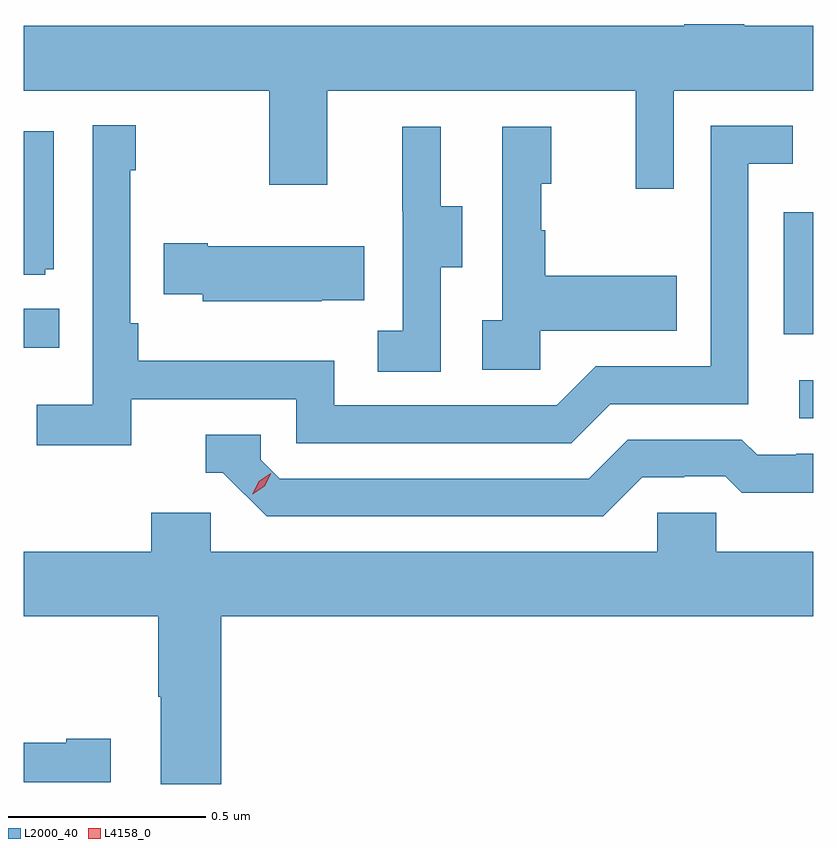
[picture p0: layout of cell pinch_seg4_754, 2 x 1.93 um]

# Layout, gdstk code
import gdstk
lib = gdstk.Library(unit=1e-6, precision=1e-09)
def R(c, l, rs):  # rectangles x0, y0, x1, y1
    for r in rs: c.add(gdstk.rectangle(r[:2], r[2:], *l))
def P(c, l, *ps):  # polygons
    for p in ps: c.add(gdstk.Polygon(p, *l))
L2000_40 = (2000, 40)
L4158_0 = (4158, 0)

pinch_seg4_754 = lib.new_cell('pinch_seg4_754')
R(pinch_seg4_754, L2000_40, [(864.693,818.634,864.728,818.73), (862.728,818.813,862.817,818.912), (864.654,818.847,864.728,819.156)])
P(pinch_seg4_754, L2000_40, [(864.375,819.464),(864.728,819.464),(864.728,819.628),(864.553,819.628),(864.553,819.633),(864.401,819.633),(864.401,819.628),(862.728,819.628),(862.728,819.464),(863.35,819.464),(863.35,819.225),(863.497,819.225),(863.497,819.464),(864.278,819.464),(864.278,819.216),(864.375,819.216)],
  [(863,818.682),(863.418,818.682),(863.418,818.571),(864.115,818.571),(864.214,818.67),(864.564,818.67),(864.564,819.279),(864.677,819.279),(864.677,819.375),(864.468,819.375),(864.468,818.766),(864.177,818.766),(864.078,818.667),(863.514,818.667),(863.514,818.779),(863.018,818.779),(863.018,818.875),(862.998,818.875),(862.998,819.263),(863.011,819.263),(863.011,819.376),(862.902,819.376),(862.902,818.668),(862.761,818.668),(862.761,818.566),(863,818.566)],
  [(864.036,818.855),(864.383,818.855),(864.383,818.995),(864.049,818.995),(864.049,819.11),(864.039,819.11),(864.039,819.228),(864.064,819.228),(864.064,819.373),(863.94,819.373),(863.94,818.882),(863.889,818.882),(863.889,818.757),(864.036,818.757)],
  [(863.784,819.016),(863.839,819.016),(863.839,819.171),(863.785,819.171),(863.785,819.373),(863.687,819.373),(863.687,819.159),(863.688,819.159),(863.688,818.855),(863.625,818.855),(863.625,818.752),(863.784,818.752)],
  [(862.782,819.012),(862.804,819.012),(862.804,819.361),(862.728,819.361),(862.728,818.997),(862.782,818.997)],
  [(863.483,818.933),(863.591,818.933),(863.591,819.07),(863.194,819.07),(863.194,819.078),(863.083,819.078),(863.083,818.948),(863.181,818.948),(863.181,818.93),(863.483,818.93)],
  [(864.295,818.484),(864.402,818.484),(864.402,818.487),(864.505,818.487),(864.547,818.445),(864.728,818.445),(864.728,818.544),(864.685,818.544),(864.685,818.541),(864.586,818.541),(864.547,818.58),(864.258,818.58),(864.159,818.481),(863.376,818.481),(863.328,818.529),(863.328,818.592),(863.189,818.592),(863.189,818.496),(863.232,818.496),(863.343,818.385),(864.196,818.385)],
  [(863.228,818.132),(864.728,818.132),(864.728,818.296),(864.483,818.296),(864.483,818.394),(864.333,818.394),(864.333,818.296),(863.202,818.296),(863.202,818.394),(863.051,818.394),(863.051,818.296),(862.728,818.296),(862.728,818.132),(863.068,818.132),(863.068,817.928),(863.075,817.928),(863.075,817.707),(863.228,817.707)],
  [(862.948,817.822),(862.835,817.822),(862.835,817.812),(862.728,817.812),(862.728,817.712),(862.948,817.712)])
P(pinch_seg4_754, L4158_0, [(863.307,818.441),(863.307,818.441),(863.323,818.474),(863.353,818.494),(863.354,818.494),(863.354,818.493),(863.338,818.461),(863.308,818.441)])

lib.write_gds('pinch_seg4_754.gds')
